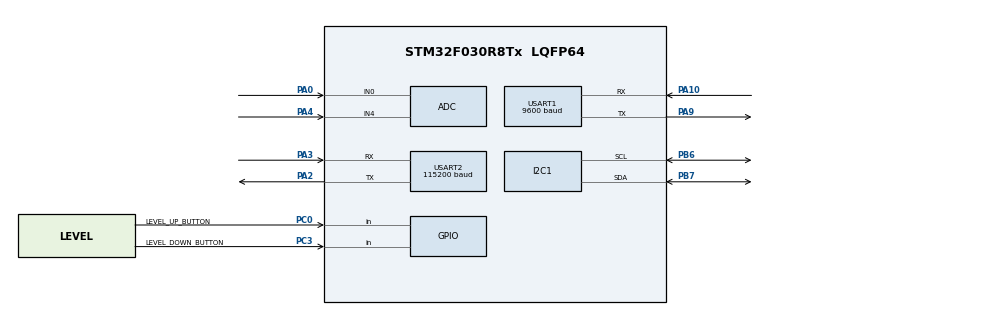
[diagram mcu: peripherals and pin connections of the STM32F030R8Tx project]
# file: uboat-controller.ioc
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ADC.SamplingTime=ADC_SAMPLETIME_71CYCLES_5
Dma.ADC.0.Direction=DMA_PERIPH_TO_MEMORY
Dma.ADC.0.Instance=DMA1_Channel1
Dma.ADC.0.MemDataAlignment=DMA_MDATAALIGN_WORD
Dma.ADC.0.MemInc=DMA_MINC_ENABLE
Dma.ADC.0.Mode=DMA_NORMAL
Dma.ADC.0.PeriphDataAlignment=DMA_PDATAALIGN_WORD
Dma.ADC.0.PeriphInc=DMA_PINC_DISABLE
Dma.ADC.0.Priority=DMA_PRIORITY_LOW
Dma.Request0=ADC
I2C1.Timing=0x00201D2B
Mcu.Family=STM32F0
Mcu.Name=STM32F030R8Tx
Mcu.Package=LQFP64
NVIC.DMA1_Channel1_IRQn=true\:0\:0\:false\:false\:true\:false\:true\:true
PA0.Mode=IN0
PA0.Signal=ADC_IN0
PA10.Mode=Asynchronous
PA10.Signal=USART1_RX
PA2.Mode=Asynchronous
PA2.Signal=USART2_TX
PA3.Mode=Asynchronous
PA3.Signal=USART2_RX
PA4.Mode=IN4
PA4.Signal=ADC_IN4
PA9.Mode=Asynchronous
PA9.Signal=USART1_TX
PB6.Mode=I2C
PB6.Signal=I2C1_SCL
PB7.Mode=I2C
PB7.Signal=I2C1_SDA
PC0.GPIO_Label=LEVEL_UP_BUTTON
PC0.GPIO_PuPd=GPIO_PULLUP
PC0.Signal=GPIO_Input
PC3.GPIO_Label=LEVEL_DOWN_BUTTON
PC3.GPIO_PuPd=GPIO_PULLUP
PC3.Signal=GPIO_Input
ProjectManager.HeapSize=0x200
ProjectManager.StackSize=0x400
ProjectManager.TargetToolchain=STM32CubeIDE
USART1.BaudRate=9600
USART1.VirtualMode-Asynchronous=VM_ASYNC
USART2.BaudRate=115200
USART2.VirtualMode-Asynchronous=VM_ASYNC
board=custom

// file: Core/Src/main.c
/* USER CODE BEGIN Header */
/**
  ******************************************************************************
  * @file           : main.c
  * @brief          : Main program body
  ******************************************************************************
  * @attention
  *
  * Copyright (c) 2025 STMicroelectronics.
  * All rights reserved.
  *
  * This software is licensed under terms that can be found in the LICENSE file
  * in the root directory of this software component.
  * If no LICENSE file comes with this software, it is provided AS-IS.
  *
  ******************************************************************************
  */
/* USER CODE END Header */
#include "main.h"

/* USER CODE BEGIN Includes */
#include <stdio.h>
#include <lcd.h>
/* USER CODE END Includes */

ADC_HandleTypeDef hadc;
DMA_HandleTypeDef hdma_adc;

I2C_HandleTypeDef hi2c1;

UART_HandleTypeDef huart1;
UART_HandleTypeDef huart2;

/* USER CODE BEGIN PV */
uint32_t dma[2];
UART_HandleTypeDef* bluetoothUart = &huart1;
/* USER CODE END PV */

void SystemClock_Config(void);
static void MX_GPIO_Init(void);
static void MX_DMA_Init(void);
static void MX_ADC_Init(void);
static void MX_USART2_UART_Init(void);
static void MX_USART1_UART_Init(void);
static void MX_I2C1_Init(void);
/* USER CODE BEGIN PFP */
long map(long x, long in_min, long in_max, long out_min, long out_max);
void I2C_Scanner(I2C_HandleTypeDef *hi2c);
/* USER CODE END PFP */

int main(void)
{

  /* MCU Configuration--------------------------------------------------------*/

  /* Reset of all peripherals, Initializes the Flash interface and the Systick. */
  HAL_Init();

  /* Configure the system clock */
  SystemClock_Config();

  /* Initialize all configured peripherals */
  MX_GPIO_Init();
  MX_DMA_Init();
  MX_ADC_Init();
  MX_USART2_UART_Init();
  MX_USART1_UART_Init();
  MX_I2C1_Init();
  /* USER CODE BEGIN 2 */
  char message[50];

  I2C_Scanner(&hi2c1);

  lcd_init(&hi2c1);
  lcd_clear();
  /* USER CODE END 2 */

  /* Infinite loop */
  /* USER CODE BEGIN WHILE */
  while (1)
  {
	  HAL_ADC_Start_DMA(&hadc, dma, 2);
	  int joystick_x = -(map(dma[0], 0, 4095, 0, 40) - 19);
	  int joystick_y = map(dma[1], 0, 4095, 0, 40) - 20;
	  char direction = 'F';
	  char level = 'F';
	  char lcd_first_line[17];
	  char lcd_second_line[17];
	  if (joystick_x > 10 || joystick_x < -10) {
		  direction = joystick_x > 0? 'R' : 'L';
	  } else {
		  direction = 'F';
	  }

	  int level_up_button_state = HAL_GPIO_ReadPin(LEVEL_UP_BUTTON_GPIO_Port, LEVEL_UP_BUTTON_Pin);
	  int level_down_button_state = HAL_GPIO_ReadPin(LEVEL_DOWN_BUTTON_GPIO_Port, LEVEL_DOWN_BUTTON_Pin);
	  printf("%d,%d,\r\n", level_up_button_state, level_down_button_state);
	  if (level_up_button_state == RESET && level_down_button_state == RESET) {
	  } else if (level_up_button_state == RESET) {
		  level = 'U';
	  } else if (level_down_button_state == RESET) {
		  level = 'D';
	  } else {
		  level = 'F';
	  }

	  printf("%d,%c,%c\r\n", joystick_y, direction, level);
	  sprintf(message, "%d,%c,%c\r", joystick_y, direction, level);
	  sprintf(lcd_first_line, "s:%02d, d:%c", joystick_y, direction);
	  sprintf(lcd_second_line, "level:%c", level);

	  lcd_clear();
	  lcd_put_cursor(0, 0);
	  lcd_send_string(lcd_first_line);
	  lcd_put_cursor(1, 0);
	  lcd_send_string(lcd_second_line);

	  // 블루투스로 메시지 전달
	  HAL_UART_Transmit(bluetoothUart, message, sizeof(message), 10);

	  HAL_Delay(100);
    /* USER CODE END WHILE */

  }
}

void SystemClock_Config(void)
{
  RCC_OscInitTypeDef RCC_OscInitStruct = {0};
  RCC_ClkInitTypeDef RCC_ClkInitStruct = {0};
  RCC_PeriphCLKInitTypeDef PeriphClkInit = {0};

  /** Initializes the RCC Oscillators according to the specified parameters
  * in the RCC_OscInitTypeDef structure.
  */
  RCC_OscInitStruct.OscillatorType = RCC_OSCILLATORTYPE_HSI|RCC_OSCILLATORTYPE_HSI14;
  RCC_OscInitStruct.HSIState = RCC_HSI_ON;
  RCC_OscInitStruct.HSI14State = RCC_HSI14_ON;
  RCC_OscInitStruct.HSICalibrationValue = RCC_HSICALIBRATION_DEFAULT;
  RCC_OscInitStruct.HSI14CalibrationValue = 16;
  RCC_OscInitStruct.PLL.PLLState = RCC_PLL_NONE;
  if (HAL_RCC_OscConfig(&RCC_OscInitStruct) != HAL_OK)
  {
    Error_Handler();
  }

  /** Initializes the CPU, AHB and APB buses clocks
  */
  RCC_ClkInitStruct.ClockType = RCC_CLOCKTYPE_HCLK|RCC_CLOCKTYPE_SYSCLK
                              |RCC_CLOCKTYPE_PCLK1;
  RCC_ClkInitStruct.SYSCLKSource = RCC_SYSCLKSOURCE_HSI;
  RCC_ClkInitStruct.AHBCLKDivider = RCC_SYSCLK_DIV1;
  RCC_ClkInitStruct.APB1CLKDivider = RCC_HCLK_DIV1;

  if (HAL_RCC_ClockConfig(&RCC_ClkInitStruct, FLASH_LATENCY_0) != HAL_OK)
  {
    Error_Handler();
  }
  PeriphClkInit.PeriphClockSelection = RCC_PERIPHCLK_USART1|RCC_PERIPHCLK_I2C1;
  PeriphClkInit.Usart1ClockSelection = RCC_USART1CLKSOURCE_PCLK1;
  PeriphClkInit.I2c1ClockSelection = RCC_I2C1CLKSOURCE_HSI;
  if (HAL_RCCEx_PeriphCLKConfig(&PeriphClkInit) != HAL_OK)
  {
    Error_Handler();
  }
}

static void MX_ADC_Init(void)
{

  ADC_ChannelConfTypeDef sConfig = {0};

  /** Configure the global features of the ADC (Clock, Resolution, Data Alignment and number of conversion)
  */
  hadc.Instance = ADC1;
  hadc.Init.ClockPrescaler = ADC_CLOCK_ASYNC_DIV1;
  hadc.Init.Resolution = ADC_RESOLUTION_12B;
  hadc.Init.DataAlign = ADC_DATAALIGN_RIGHT;
  hadc.Init.ScanConvMode = ADC_SCAN_DIRECTION_FORWARD;
  hadc.Init.EOCSelection = ADC_EOC_SINGLE_CONV;
  hadc.Init.LowPowerAutoWait = DISABLE;
  hadc.Init.LowPowerAutoPowerOff = DISABLE;
  hadc.Init.ContinuousConvMode = DISABLE;
  hadc.Init.DiscontinuousConvMode = DISABLE;
  hadc.Init.ExternalTrigConv = ADC_SOFTWARE_START;
  hadc.Init.ExternalTrigConvEdge = ADC_EXTERNALTRIGCONVEDGE_NONE;
  hadc.Init.DMAContinuousRequests = DISABLE;
  hadc.Init.Overrun = ADC_OVR_DATA_PRESERVED;
  if (HAL_ADC_Init(&hadc) != HAL_OK)
  {
    Error_Handler();
  }

  /** Configure for the selected ADC regular channel to be converted.
  */
  sConfig.Channel = ADC_CHANNEL_0;
  sConfig.Rank = ADC_RANK_CHANNEL_NUMBER;
  sConfig.SamplingTime = ADC_SAMPLETIME_71CYCLES_5;
  if (HAL_ADC_ConfigChannel(&hadc, &sConfig) != HAL_OK)
  {
    Error_Handler();
  }

  /** Configure for the selected ADC regular channel to be converted.
  */
  sConfig.Channel = ADC_CHANNEL_4;
  if (HAL_ADC_ConfigChannel(&hadc, &sConfig) != HAL_OK)
  {
    Error_Handler();
  }

}

static void MX_I2C1_Init(void)
{

  hi2c1.Instance = I2C1;
  hi2c1.Init.Timing = 0x00201D2B;
  hi2c1.Init.OwnAddress1 = 0;
  hi2c1.Init.AddressingMode = I2C_ADDRESSINGMODE_7BIT;
  hi2c1.Init.DualAddressMode = I2C_DUALADDRESS_DISABLE;
  hi2c1.Init.OwnAddress2 = 0;
  hi2c1.Init.OwnAddress2Masks = I2C_OA2_NOMASK;
  hi2c1.Init.GeneralCallMode = I2C_GENERALCALL_DISABLE;
  hi2c1.Init.NoStretchMode = I2C_NOSTRETCH_DISABLE;
  if (HAL_I2C_Init(&hi2c1) != HAL_OK)
  {
    Error_Handler();
  }

  /** Configure Analogue filter
  */
  if (HAL_I2CEx_ConfigAnalogFilter(&hi2c1, I2C_ANALOGFILTER_ENABLE) != HAL_OK)
  {
    Error_Handler();
  }

  /** Configure Digital filter
  */
  if (HAL_I2CEx_ConfigDigitalFilter(&hi2c1, 0) != HAL_OK)
  {
    Error_Handler();
  }

}

static void MX_USART1_UART_Init(void)
{

  huart1.Instance = USART1;
  huart1.Init.BaudRate = 9600;
  huart1.Init.WordLength = UART_WORDLENGTH_8B;
  huart1.Init.StopBits = UART_STOPBITS_1;
  huart1.Init.Parity = UART_PARITY_NONE;
  huart1.Init.Mode = UART_MODE_TX_RX;
  huart1.Init.HwFlowCtl = UART_HWCONTROL_NONE;
  huart1.Init.OverSampling = UART_OVERSAMPLING_16;
  huart1.Init.OneBitSampling = UART_ONE_BIT_SAMPLE_DISABLE;
  huart1.AdvancedInit.AdvFeatureInit = UART_ADVFEATURE_NO_INIT;
  if (HAL_UART_Init(&huart1) != HAL_OK)
  {
    Error_Handler();
  }

}

static void MX_USART2_UART_Init(void)
{

  huart2.Instance = USART2;
  huart2.Init.BaudRate = 115200;
  huart2.Init.WordLength = UART_WORDLENGTH_8B;
  huart2.Init.StopBits = UART_STOPBITS_1;
  huart2.Init.Parity = UART_PARITY_NONE;
  huart2.Init.Mode = UART_MODE_TX_RX;
  huart2.Init.HwFlowCtl = UART_HWCONTROL_NONE;
  huart2.Init.OverSampling = UART_OVERSAMPLING_16;
  huart2.Init.OneBitSampling = UART_ONE_BIT_SAMPLE_DISABLE;
  huart2.AdvancedInit.AdvFeatureInit = UART_ADVFEATURE_NO_INIT;
  if (HAL_UART_Init(&huart2) != HAL_OK)
  {
    Error_Handler();
  }

}

static void MX_DMA_Init(void)
{

  /* DMA controller clock enable */
  __HAL_RCC_DMA1_CLK_ENABLE();

  /* DMA interrupt init */
  /* DMA1_Channel1_IRQn interrupt configuration */
  HAL_NVIC_SetPriority(DMA1_Channel1_IRQn, 0, 0);
  HAL_NVIC_EnableIRQ(DMA1_Channel1_IRQn);

}

static void MX_GPIO_Init(void)
{
  GPIO_InitTypeDef GPIO_InitStruct = {0};

  /* GPIO Ports Clock Enable */
  __HAL_RCC_GPIOC_CLK_ENABLE();
  __HAL_RCC_GPIOA_CLK_ENABLE();
  __HAL_RCC_GPIOB_CLK_ENABLE();

  /*Configure GPIO pins : LEVEL_UP_BUTTON_Pin LEVEL_DOWN_BUTTON_Pin */
  GPIO_InitStruct.Pin = LEVEL_UP_BUTTON_Pin|LEVEL_DOWN_BUTTON_Pin;
  GPIO_InitStruct.Mode = GPIO_MODE_INPUT;
  GPIO_InitStruct.Pull = GPIO_PULLUP;
  HAL_GPIO_Init(GPIOC, &GPIO_InitStruct);

}

/* USER CODE BEGIN 4 */
int _write(int file, char* p, int len){
	HAL_UART_Transmit(&huart2, (uint8_t*)p, len, 10);
	return len;
}

long map(long x, long in_min, long in_max, long out_min, long out_max) {
  return (x - in_min) * (out_max - out_min) / (in_max - in_min) + out_min;
}

void I2C_Scanner(I2C_HandleTypeDef *hi2c) {
	printf("Scanning I2C bus...\r\n");
	for (uint8_t i = 1; i < 127; i++) {
		if (HAL_I2C_IsDeviceReady(hi2c, i << 1, 1, 10) == HAL_OK) {
			printf("Device found at 0x%02X\r\n", i);
		}
	}
}
/* USER CODE END 4 */

void Error_Handler(void)
{
  __disable_irq();
  while (1)
  {
  }
}
